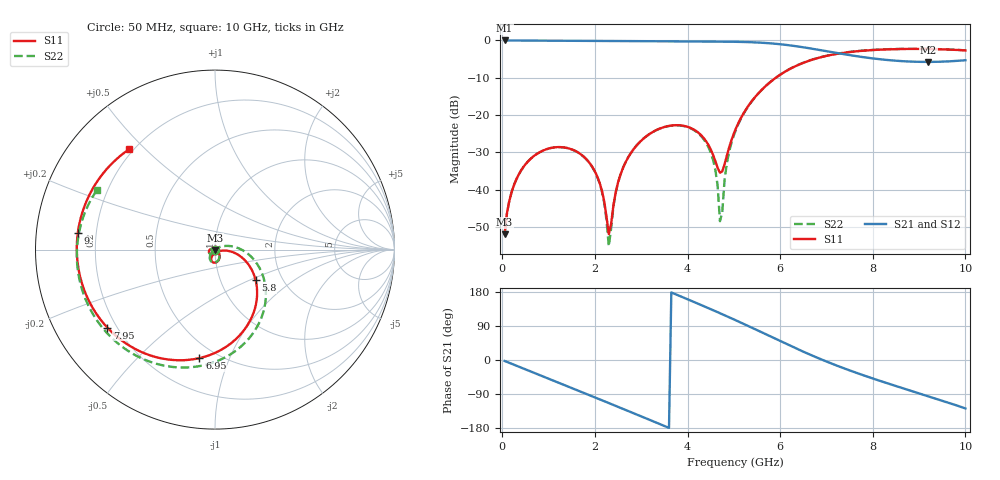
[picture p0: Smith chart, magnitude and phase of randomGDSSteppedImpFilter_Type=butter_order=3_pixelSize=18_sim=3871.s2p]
! freq	dB(S11)	phase(S11)	dB(S12)	phase(S12)
!  dB(S21)	phase(S21)	dB(S22)	phase(S22)
!S-par simulation data
#  GHz  S  DB  R 50
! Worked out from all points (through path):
!   200 points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, 50 MHz to 10 GHz, reference 50 ohm
!   highest |S21| = 0.00 dB at 50 MHz (marker M1); lowest = -5.8 dB at 9.2 GHz (marker M2)
!   group delay of S21, straight-line fit = 140 ps
!   lowest |S11| = -51.9 dB at 50 MHz (marker M3), VSWR 1.01, Z = 50 - j0.253 ohm
!   |S11| at or under -10 dB: start of sweep to 5.906 GHz
!   |S22| runs from -55.1 to -2.2 dB; largest |S21 - S12| = 0
!   S11 on the Smith chart (normalised r, x): 50 MHz: 1.00, -0.01; 5.8 GHz: 1.47, -0.54; 6.95 GHz: 0.41, -0.78; 7.95 GHz: 0.16, -0.32; 9 GHz: 0.13, +0.06; 10 GHz: 0.18, +0.45
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0.05  -51.93 -86.7  -0.00 -2.5  -0.00 -2.5  -51.94 -86.7
0.25  -38.84 -100.9  -0.02 -12.4  -0.02 -12.4  -38.84 -100.8
0.6  -31.86 -120.3  -0.04 -29.6  -0.04 -29.6  -31.87 -120.0
1.75  -31.05 179.7  -0.10 -86.3  -0.10 -86.3  -31.09 -179.0
2.1  -38.10 156.0  -0.12 -103.7  -0.12 -103.7  -38.25 159.5
2.3  -51.92 80.3  -0.13 -113.6  -0.13 -113.6  -55.15 83.5
2.45  -40.65 -15.9  -0.14 -121.1  -0.14 -121.1  -40.75 -21.7
2.6  -34.36 -31.0  -0.15 -128.6  -0.15 -128.6  -34.37 -34.1
3.4  -23.63 -75.3  -0.23 -169.0  -0.23 -169.0  -23.65 -77.5
4.4  -27.00 -114.8  -0.30 139.5  -0.30 139.5  -27.44 -130.0
4.6  -32.32 -103.5  -0.31 128.9  -0.31 128.9  -34.66 -143.2
4.7  -35.46 -71.4  -0.32 123.5  -0.32 123.5  -48.45 -167.2
4.85  -30.84 -15.6  -0.33 115.4  -0.33 115.4  -32.85 31.8
5.05  -23.44 -5.3  -0.36 104.4  -0.36 104.4  -23.77 18.5
5.8  -11.01 -36.6  -0.78 61.6  -0.78 61.6  -11.01 -24.7
6.7  -5.13 -85.4  -2.24 11.3  -2.24 11.3  -5.10 -74.3
6.95  -4.28 -98.2  -2.77 -1.5  -2.77 -1.5  -4.25 -86.9
7.95  -2.61 -144.1  -4.74 -46.7  -4.74 -46.7  -2.57 -130.8
8.35  -2.37 -160.7  -5.28 -62.8  -5.28 -62.8  -2.33 -146.2
9  -2.27 172.9  -5.73 -87.9  -5.73 -87.9  -2.24 -170.0
9.2  -2.30 164.7  -5.76 -95.6  -5.76 -95.6  -2.26 -177.2
10  -2.67 130.5  -5.30 -127.8  -5.30 -127.8  -2.66 153.1
